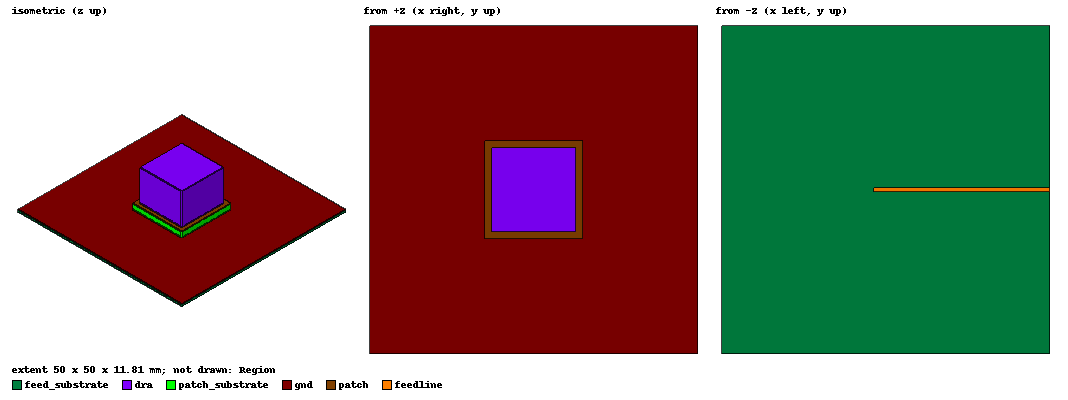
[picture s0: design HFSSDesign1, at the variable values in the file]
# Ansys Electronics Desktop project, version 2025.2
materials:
  vacuum: permittivity=1
  copper: permeability=0.999991 conductivity=58000000
  Rogers RO3010 (tm): permittivity=10.2 dielectric_loss_tangent=0.0035
  Duroid (tm): permittivity=2.2 dielectric_loss_tangent=0.0009
  Rogers TMM 10 (tm): permittivity=9.2 dielectric_loss_tangent=0.0022

design HFSSDesign1 (HFSS, HFSS Terminal Network, model units mm)
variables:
  gnd_wl = 50mm
  gnd_t = 0.035mm
  feedsub_t = 0.635mm
  lower_slotw = 2mm
  lower_slotL = 9mm
  feed_L = 25mm
  feed_W = 0.56mm
  stub_L = 1.8mm
  pSub_WL = 15mm
  pSub_t = 1.575mm
  p_wl = 15mm
  upper_slotW = 2mm
  uppe_slotL = 8mm
  dra_WL = 12.7mm
  dra_h = 9.5mm
  offset = 0mm
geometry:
  gnd [copper] = box(corner=(-gnd_wl/2, -gnd_wl/2, feedsub_t), size=(gnd_wl, gnd_wl, gnd_t))
  feed_substrate [Rogers RO3010 (tm)] = box(corner=(-gnd_wl/2, -gnd_wl/2, 0), size=(gnd_wl, gnd_wl, feedsub_t))
  Box2 = box(corner=(-lower_slotw/2-offset, -lower_slotL/2, feedsub_t), size=(lower_slotw, lower_slotL, gnd_t))
  feedline [copper] = box(corner=(-feed_L, -feed_W/2, -gnd_t), size=(feed_L, feed_W, gnd_t))
  Box4 = box(corner=(0, -feed_W/2, -gnd_t), size=(stub_L, feed_W, gnd_t))
  feedline.unite(Box4)
  patch_substrate [Duroid (tm)] = box(corner=(-pSub_WL/2 -offset, -pSub_WL/2, gnd_t+feedsub_t), size=(pSub_WL, pSub_WL, pSub_t))
  patch [copper] = box(corner=(-p_wl/2-offset, -p_wl/2, feedsub_t+gnd_t+pSub_t), size=(p_wl, p_wl, gnd_t))
  gnd.subtract(Box2)
  upper_slot = box(corner=(-upper_slotW/2-offset, -uppe_slotL/2, feedsub_t+gnd_t+pSub_t), size=(upper_slotW, uppe_slotL, gnd_t))
  patch.subtract(upper_slot)
  dra [Rogers RO3010 (tm)] = box(corner=(-dra_WL/2-offset, -dra_WL/2, feedsub_t+gnd_t+pSub_t+gnd_t), size=(dra_WL, dra_WL, dra_h))
  Region [vacuum] = region(percentage_offset=75 on all sides)
  coordinate_system RelativeCS1 = origin=(-25mm, 0mm, -0.035mm) x=(1mm, 0mm, 0mm) y=(0mm, 1mm, 0mm)
  Rectangle1 = rectangle(corner=(0mm, -feed_W/2, gnd_t), y_size=feed_W, z_size=feedsub_t) in RelativeCS1
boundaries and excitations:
  PerfE2: Perfect E Objects=gnd
  PerfE3: Perfect E Objects=patch
  PerfE4: Perfect E Objects=feedline
  Rad1: Radiation Objects=Region
  1: Lumped Port Objects=Rectangle1 LumpedPortType=Modal Modes{Mode1{IntLine{(-25, 0, 0) -> (-25, 0, 0.635)} CharImp=Zpi}} Impedance=50ohm
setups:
  Setup1: HfssDriven Frequency=5GHz MaxDeltaS=0.02 MaximumPasses=12 MinimumPasses=1 MinimumConvergedPasses=1 PercentRefinement=30 BasisOrder=1 PortAccuracy=2 DrivenSolverType="Direct Solver"
    sweep Sweep: 5GHz to 8GHz, 401 points; Type=Interpolating InterpTolerance=0.5 InterpMaxSolns=250 PassivityErrorTolerance=0.0001
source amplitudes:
  1:1: 1V 0deg
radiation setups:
  Infinite Sphere1: Infinite Sphere Theta=-180deg..180deg step 2deg Phi=-180deg..180deg step 2deg
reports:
  Terminal S Parameter Plot1: dB(St(1,1)) vs Freq on Setup1 : Sweep
